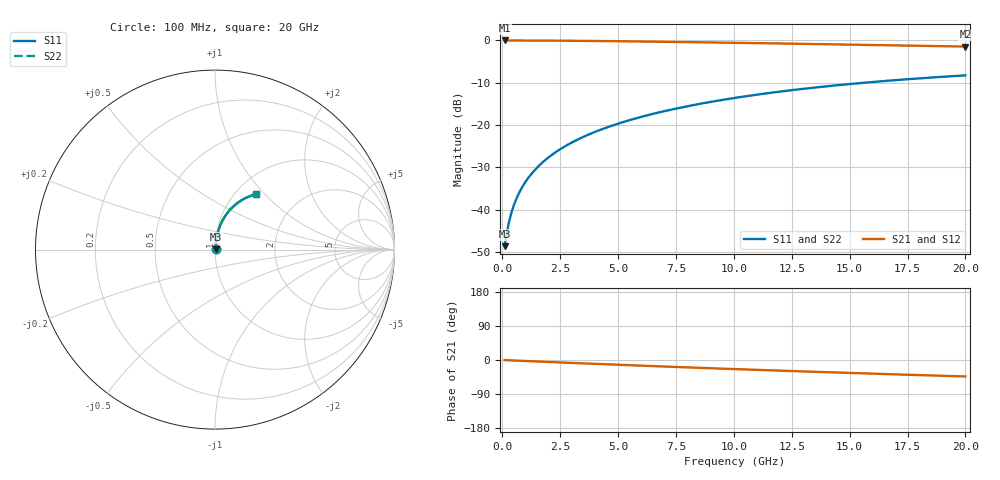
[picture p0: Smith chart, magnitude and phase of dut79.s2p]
! Touchstone file exported from HFSS 2024.1.0
!  File:  C:/UserFiles/LocalFiles/RDL_TSV_Batchsim/temp_RDL_bottom_79_1778694257.aedt
!  Generated:  01:46:53 AM May 14, 2026
!  Design:  RDL_bottom
!  Project:  temp_RDL_bottom_79_1778694257
!  Setup:  Setup1
!  Solution:  Sweep
! Variables:
!  dtsv = 10.80580581um
!  hbump = 3um
!  htsv = 98.12um
!  ldown = 641.09um
!  lrdl = 100um
!  p = 40
!  p1 = 44.05um
!  rhole = 1um
!  t = 450um
!  tdown = 4.38um
!  trdl = 3.915915916um
!  wdown = 18.41um
!  wrdl = 20um
# GHz S MA R 50.000000
! Terminal data exported
! Port[1] = RDL1_T1
! Port[2] = RDL1_T2
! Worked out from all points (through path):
!   200 points, 100 MHz to 20 GHz, reference 50 ohm
!   highest |S21| = -0.03 dB at 100 MHz (marker M1); lowest = -1.5 dB at 20 GHz (marker M2)
!   group delay of S21, straight-line fit = 6 ps
!   lowest |S11| = -48.6 dB at 100 MHz (marker M3), VSWR 1.01, Z = 50.3 + j0.227 ohm
!   |S11| at or under -10 dB: start of sweep to 15.64 GHz
!   |S22| runs from -48.6 to -8.3 dB; largest |S21 - S12| = 6.3e-15
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0.1  0.003715 37.3  0.997 -0.3  0.997 -0.3  0.003715 37.3
! Gamma 0 0 0 0
! Port Impedance 50 0 50 0
0.2  0.005419 55.4  0.9969 -0.5  0.9969 -0.5  0.005419 55.4
0.3  0.007358 63.8  0.9967 -0.8  0.9967 -0.8  0.007358 63.8
0.4  0.009342 68.6  0.9965 -1.1  0.9965 -1.1  0.009343 68.6
0.5  0.01133 71.6  0.9964 -1.3  0.9964 -1.3  0.01133 71.6
0.6  0.01332 73.7  0.9962 -1.6  0.9962 -1.6  0.01332 73.7
0.8  0.0173 76.6  0.9959 -2.1  0.9959 -2.1  0.0173 76.6
1.1  0.0233 79.1  0.9953 -2.9  0.9953 -2.9  0.0233 79.1
1.3  0.02733 80.1  0.9948 -3.4  0.9948 -3.4  0.02734 80.1
1.6  0.03342 81.0  0.9941 -4.1  0.9941 -4.1  0.03342 81.0
2.1  0.04362 81.8  0.9925 -5.4  0.9925 -5.4  0.04362 81.8
2.7  0.05596 82.0  0.9901 -6.9  0.9901 -6.9  0.05596 82.0
3.5  0.07252 81.7  0.9861 -8.9  0.9861 -8.9  0.07251 81.6
4.2  0.08709 81.1  0.982 -10.7  0.982 -10.7  0.08709 81.0
5  0.1038 80.1  0.9768 -12.6  0.9768 -12.6  0.1038 80.1
5.9  0.1227 78.9  0.9704 -14.7  0.9704 -14.7  0.1227 78.9
6.8  0.1417 77.6  0.9634 -16.8  0.9634 -16.8  0.1417 77.6
8.4  0.1752 74.9  0.9502 -20.4  0.9502 -20.4  0.1752 74.9
10.1  0.2104 71.8  0.9354 -24.1  0.9354 -24.1  0.2103 71.8
13.4  0.2754 65.6  0.9053 -31.0  0.9053 -31.0  0.2753 65.6
16.7  0.3343 59.3  0.8746 -37.4  0.8746 -37.4  0.3342 59.3
20  0.386 53.3  0.8443 -43.4  0.8443 -43.4  0.3858 53.3
